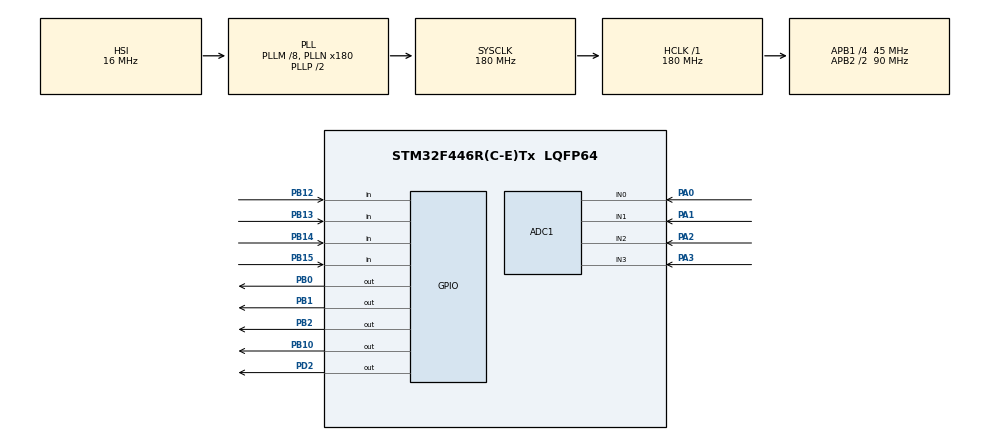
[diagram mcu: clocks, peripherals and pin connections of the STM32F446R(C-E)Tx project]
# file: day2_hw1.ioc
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ADC1.Channel-0\#ChannelRegularConversion=ADC_CHANNEL_0
ADC1.Channel-1\#ChannelRegularConversion=ADC_CHANNEL_1
ADC1.Channel-2\#ChannelRegularConversion=ADC_CHANNEL_2
ADC1.Channel-3\#ChannelRegularConversion=ADC_CHANNEL_3
ADC1.DMAContinuousRequests=ENABLE
ADC1.ExternalTrigConv=ADC_EXTERNALTRIGCONV_T8_TRGO
ADC1.NbrOfConversion=4
ADC1.NbrOfConversionFlag=1
ADC1.Rank-0\#ChannelRegularConversion=1
ADC1.Rank-1\#ChannelRegularConversion=2
ADC1.Rank-2\#ChannelRegularConversion=3
ADC1.Rank-3\#ChannelRegularConversion=4
ADC1.SamplingTime-0\#ChannelRegularConversion=ADC_SAMPLETIME_15CYCLES
ADC1.SamplingTime-1\#ChannelRegularConversion=ADC_SAMPLETIME_15CYCLES
ADC1.SamplingTime-2\#ChannelRegularConversion=ADC_SAMPLETIME_15CYCLES
ADC1.SamplingTime-3\#ChannelRegularConversion=ADC_SAMPLETIME_15CYCLES
ADC1.ScanConvMode=ENABLE
ADC1.master=1
Dma.ADC1.0.Direction=DMA_PERIPH_TO_MEMORY
Dma.ADC1.0.FIFOMode=DMA_FIFOMODE_DISABLE
Dma.ADC1.0.Instance=DMA2_Stream0
Dma.ADC1.0.MemDataAlignment=DMA_MDATAALIGN_WORD
Dma.ADC1.0.MemInc=DMA_MINC_ENABLE
Dma.ADC1.0.Mode=DMA_CIRCULAR
Dma.ADC1.0.PeriphDataAlignment=DMA_PDATAALIGN_WORD
Dma.ADC1.0.PeriphInc=DMA_PINC_DISABLE
Dma.ADC1.0.Priority=DMA_PRIORITY_LOW
Dma.Request0=ADC1
Mcu.Family=STM32F4
Mcu.Name=STM32F446R(C-E)Tx
Mcu.Package=LQFP64
NVIC.ADC_IRQn=true\:0\:0\:false\:false\:true\:true\:true\:true
NVIC.DMA2_Stream0_IRQn=true\:0\:0\:false\:false\:true\:false\:true\:true
NVIC.PriorityGroup=NVIC_PRIORITYGROUP_4
NVIC.TIM6_DAC_IRQn=true\:0\:0\:false\:false\:true\:true\:true\:true
NVIC.TIM8_UP_TIM13_IRQn=true\:0\:0\:false\:false\:true\:true\:true\:true
PA0-WKUP.Signal=ADCx_IN0
PA1.Signal=ADCx_IN1
PA13.Mode=Serial_Wire
PA13.Signal=SYS_JTMS-SWDIO
PA14.Mode=Serial_Wire
PA14.Signal=SYS_JTCK-SWCLK
PA2.Signal=ADCx_IN2
PA3.Signal=ADCx_IN3
PB0.Signal=GPIO_Output
PB1.Signal=GPIO_Output
PB10.Signal=GPIO_Output
PB12.Signal=GPIO_Input
PB13.Signal=GPIO_Input
PB14.Signal=GPIO_Input
PB15.Signal=GPIO_Input
PB2.Signal=GPIO_Output
PD2.Signal=GPIO_Output
PH0-OSC_IN.Mode=HSE-External-Oscillator
PH0-OSC_IN.Signal=RCC_OSC_IN
PH1-OSC_OUT.Mode=HSE-External-Oscillator
PH1-OSC_OUT.Signal=RCC_OSC_OUT
ProjectManager.HeapSize=0x200
ProjectManager.StackSize=0x400
ProjectManager.TargetToolchain=STM32CubeIDE
RCC.AHBFreq_Value=180000000
RCC.APB1CLKDivider=RCC_HCLK_DIV4
RCC.APB1Freq_Value=45000000
RCC.APB1TimFreq_Value=90000000
RCC.APB2CLKDivider=RCC_HCLK_DIV2
RCC.APB2Freq_Value=90000000
RCC.APB2TimFreq_Value=180000000
RCC.CortexFreq_Value=180000000
RCC.HCLKFreq_Value=180000000
RCC.HSE_VALUE=16000000
RCC.PLLM=8
RCC.PLLN=180
RCC.SYSCLKFreq_VALUE=180000000
RCC.SYSCLKSource=RCC_SYSCLKSOURCE_PLLCLK
RCC.USBFreq_Value=180000000
RCC.VCOOutputFreq_Value=360000000
SH.ADCx_IN0.0=ADC1_IN0,IN0
SH.ADCx_IN1.0=ADC1_IN1,IN1
SH.ADCx_IN2.0=ADC1_IN2,IN2
SH.ADCx_IN3.0=ADC1_IN3,IN3
TIM6.Period=100-1
TIM6.Prescaler=90-1
TIM8.Period=10000-1
TIM8.Prescaler=180-1
TIM8.TIM_MasterOutputTrigger=TIM_TRGO_UPDATE
VP_TIM6_VS_ClockSourceINT.Mode=Enable_Timer
VP_TIM8_VS_ClockSourceINT.Mode=Internal
board=custom

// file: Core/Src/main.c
/* USER CODE BEGIN Header */
/**
  ******************************************************************************
  * @file           : main.c
  * @brief          : Main program body
  ******************************************************************************
  * @attention
  *
  * Copyright (c) 2026 STMicroelectronics.
  * All rights reserved.
  *
  * This software is licensed under terms that can be found in the LICENSE file
  * in the root directory of this software component.
  * If no LICENSE file comes with this software, it is provided AS-IS.
  *
  ******************************************************************************
  */
/* USER CODE END Header */
#include "main.h"
#include "adc.h"
#include "dma.h"
#include "tim.h"
#include "gpio.h"

/* USER CODE BEGIN PD */
/* 스위치·LED 모두 active-low (day_1 에서 실측으로 확정) */
#define SW_PRESSED              GPIO_PIN_RESET
#define LED_ON                  GPIO_PIN_RESET
#define LED_OFF                 GPIO_PIN_SET

#define PD2_PORT                GPIOD
#define PD2_PIN                 GPIO_PIN_2

#define SW_PORT                 GPIOB
#define LED_PORT                GPIOB
#define SW_NUM                  4u

/* TIM6 : 90MHz / 90 / 100 = 10kHz → 인터럽트 1회 = 0.1ms */
#define TICKS_PER_MS            10u

/* "1초 주기 = 0.5초 ON + 0.5초 OFF" 이므로 토글 간격은 주기의 절반 */
#define PD2_PERIOD_MS           1000u
#define SW_LED_PERIOD_MS        500u
/* USER CODE END PD */

/* USER CODE BEGIN PV */
/* i 번째 스위치가 i 번째 LED 를 담당한다 */
static const uint16_t SW_PIN [SW_NUM] = { GPIO_PIN_12, GPIO_PIN_13,
                                          GPIO_PIN_14, GPIO_PIN_15 };
static const uint16_t LED_PIN[SW_NUM] = { GPIO_PIN_0,  GPIO_PIN_1,
                                          GPIO_PIN_2,  GPIO_PIN_10 };

/* TIM6 인터럽트가 만드는 1ms 시간축 */
static volatile uint32_t g_ms = 0u;
/* USER CODE END PV */

void SystemClock_Config(void);
/* USER CODE BEGIN PFP */
static void app_1ms(void);
/* USER CODE END PFP */

/* USER CODE BEGIN 0 */
/* 1ms 제어주기마다 TIM6 인터럽트에서 호출된다 */
static void app_1ms(void)
{
  static uint32_t t_pd2 = 0u;
  static uint32_t t_sw[SW_NUM] = { 0u };
  uint8_t i;

  /* 1. PD2 : 스위치와 무관하게 계속 토글 */
  if ((g_ms - t_pd2) >= (PD2_PERIOD_MS / 2u))
  {
    t_pd2 = g_ms;
    HAL_GPIO_TogglePin(PD2_PORT, PD2_PIN);
  }

  /* 2. 스위치를 누르고 있는 동안만 짝이 되는 LED 를 토글 */
  for (i = 0u; i < SW_NUM; i++)
  {
    if (HAL_GPIO_ReadPin(SW_PORT, SW_PIN[i]) == SW_PRESSED)
    {
      if ((g_ms - t_sw[i]) >= (SW_LED_PERIOD_MS / 2u))
      {
        t_sw[i] = g_ms;
        HAL_GPIO_TogglePin(LED_PORT, LED_PIN[i]);
      }
    }
    else
    {
      /* 손을 뗀 동안 기준점을 밀어둔다. 핀에 쓰지 않으므로 직전 상태가 그대로 유지되고,
         다시 누르는 순간 밀린 시간만큼 즉시 토글되는 일도 없다 */
      t_sw[i] = g_ms;
    }
  }
}

/* TIM6 주기(0.1ms)마다 호출 — 10회를 모아 1ms 제어주기를 만든다 */
void HAL_TIM_PeriodElapsedCallback(TIM_HandleTypeDef *htim)
{
  static uint8_t sub = 0u;

  if (htim->Instance == TIM6)
  {
    sub++;
    if (sub >= TICKS_PER_MS)
    {
      sub = 0u;
      g_ms++;
      app_1ms();
    }
  }
}
/* USER CODE END 0 */

int main(void)
{

  /* MCU Configuration--------------------------------------------------------*/

  /* Reset of all peripherals, Initializes the Flash interface and the Systick. */
  HAL_Init();

  /* Configure the system clock */
  SystemClock_Config();

  /* Initialize all configured peripherals */
  MX_GPIO_Init();
  MX_DMA_Init();
  MX_ADC1_Init();
  MX_TIM8_Init();
  MX_TIM6_Init();
  /* USER CODE BEGIN 2 */
  /* CubeMX 초기 출력은 RESET 이고 active-low 라 그대로 두면 부팅 직후 전부 켜진다 */
  uint8_t i;

  HAL_GPIO_WritePin(PD2_PORT, PD2_PIN, LED_OFF);
  for (i = 0u; i < SW_NUM; i++)
  {
    HAL_GPIO_WritePin(LED_PORT, LED_PIN[i], LED_OFF);
  }

  HAL_TIM_Base_Start_IT(&htim6);
  /* USER CODE END 2 */

  /* Infinite loop */
  while (1)
  {

    /* USER CODE BEGIN 3 */
    /* 모든 동작은 TIM6 인터럽트에서 처리한다 */
  }
  /* USER CODE END 3 */
}

void SystemClock_Config(void)
{
  RCC_OscInitTypeDef RCC_OscInitStruct = {0};
  RCC_ClkInitTypeDef RCC_ClkInitStruct = {0};

  /** Configure the main internal regulator output voltage
  */
  __HAL_RCC_PWR_CLK_ENABLE();
  __HAL_PWR_VOLTAGESCALING_CONFIG(PWR_REGULATOR_VOLTAGE_SCALE1);

  /** Initializes the RCC Oscillators according to the specified parameters
  * in the RCC_OscInitTypeDef structure.
  */
  RCC_OscInitStruct.OscillatorType = RCC_OSCILLATORTYPE_HSI;
  RCC_OscInitStruct.HSIState = RCC_HSI_ON;
  RCC_OscInitStruct.HSICalibrationValue = RCC_HSICALIBRATION_DEFAULT;
  RCC_OscInitStruct.PLL.PLLState = RCC_PLL_ON;
  RCC_OscInitStruct.PLL.PLLSource = RCC_PLLSOURCE_HSI;
  RCC_OscInitStruct.PLL.PLLM = 8;
  RCC_OscInitStruct.PLL.PLLN = 180;
  RCC_OscInitStruct.PLL.PLLP = RCC_PLLP_DIV2;
  RCC_OscInitStruct.PLL.PLLQ = 2;
  RCC_OscInitStruct.PLL.PLLR = 2;
  if (HAL_RCC_OscConfig(&RCC_OscInitStruct) != HAL_OK)
  {
    Error_Handler();
  }

  /** Activate the Over-Drive mode
  */
  if (HAL_PWREx_EnableOverDrive() != HAL_OK)
  {
    Error_Handler();
  }

  /** Initializes the CPU, AHB and APB buses clocks
  */
  RCC_ClkInitStruct.ClockType = RCC_CLOCKTYPE_HCLK|RCC_CLOCKTYPE_SYSCLK
                              |RCC_CLOCKTYPE_PCLK1|RCC_CLOCKTYPE_PCLK2;
  RCC_ClkInitStruct.SYSCLKSource = RCC_SYSCLKSOURCE_PLLCLK;
  RCC_ClkInitStruct.AHBCLKDivider = RCC_SYSCLK_DIV1;
  RCC_ClkInitStruct.APB1CLKDivider = RCC_HCLK_DIV4;
  RCC_ClkInitStruct.APB2CLKDivider = RCC_HCLK_DIV2;

  if (HAL_RCC_ClockConfig(&RCC_ClkInitStruct, FLASH_LATENCY_5) != HAL_OK)
  {
    Error_Handler();
  }
}

void Error_Handler(void)
{
  __disable_irq();
  while (1)
  {
  }
}
